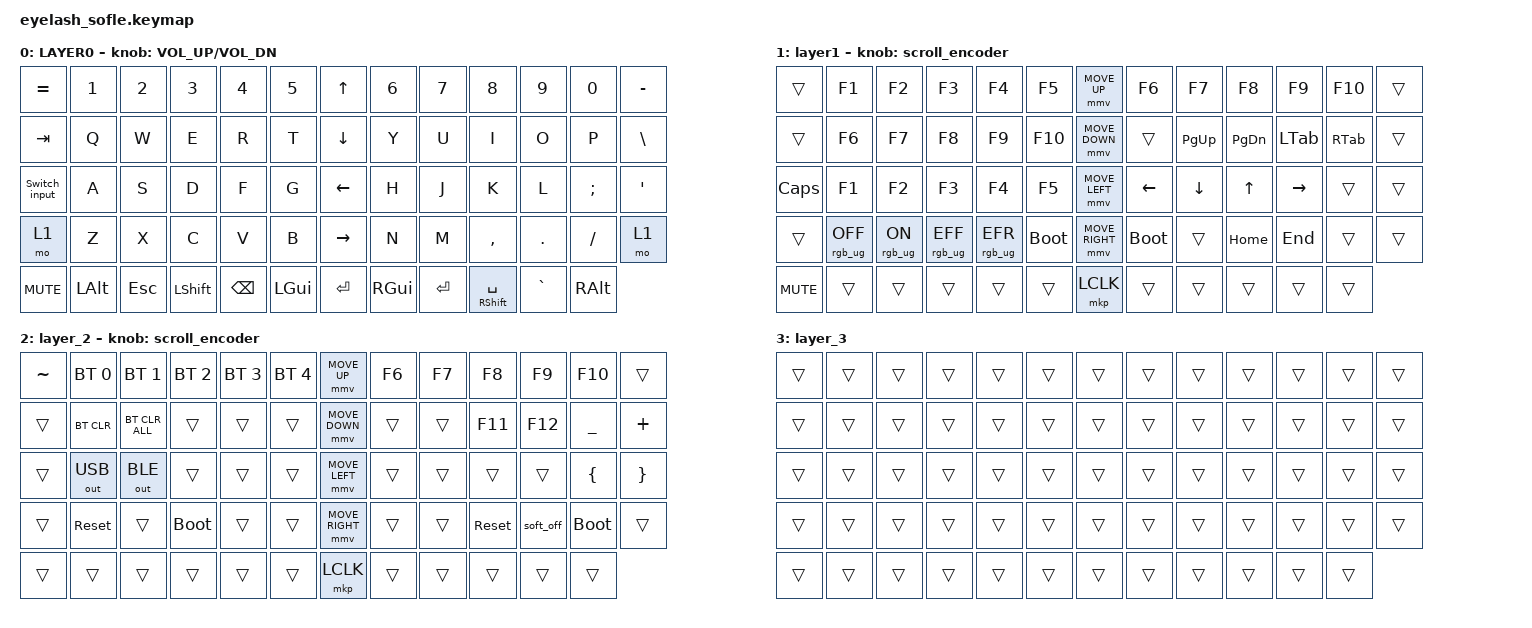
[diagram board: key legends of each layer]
#define ZMK_POINTING_DEFAULT_MOVE_VAL 1200  // 600
#define ZMK_POINTING_DEFAULT_SCRL_VAL 25   // 10

#include <input/processors.dtsi>
#include <zephyr/dt-bindings/input/input-event-codes.h>
#include <behaviors.dtsi>
#include <dt-bindings/zmk/bt.h>
#include <dt-bindings/zmk/keys.h>
#include <dt-bindings/zmk/outputs.h>
#include <dt-bindings/zmk/pointing.h>
#include <dt-bindings/zmk/rgb.h>

&mmv_input_listener { input-processors = <&zip_xy_scaler 2 1>; };

&msc_input_listener { input-processors = <&zip_scroll_scaler 2 1>; };

&msc {
    acceleration-exponent = <1>;      // 0
    time-to-max-speed-ms = <100>;       // 300
    delay-ms = <0>;                   // 0
};

&mmv {
    time-to-max-speed-ms = <500>;
    acceleration-exponent = <1>;
    trigger-period-ms = <16>;
};

/ {
    scroll_encoder: scroll_encoder {
        compatible = "zmk,behavior-sensor-rotate";
        #sensor-binding-cells = <0>;
        bindings = <&msc SCRL_DOWN>, <&msc SCRL_UP>;

        tap-ms = <100>;
    };

    behaviors {
    };

    combos {
        compatible = "zmk,combos";

        esc {
            bindings = <&kp ESCAPE>;
            key-positions = <41 42>;
        };

        grave {
            bindings = <&kp GRAVE>;
            key-positions = <49 50>;
        };

        LBracket {
            bindings = <&kp LEFT_BRACKET>;
            key-positions = <47 48>;
        };

        RBracket {
            bindings = <&kp RIGHT_BRACKET>;
            key-positions = <48 49>;
        };

        Copy {
            bindings = <&Copy>;
            key-positions = <42 43>;
        };

        Paste {
            bindings = <&Paste>;
            key-positions = <43 44>;
        };

        Layer {
            bindings = <&mo 2>;
            key-positions = <9 8>;
        };

        Layer1 {
            bindings = <&tog 1>;
            key-positions = <51 39>;
        };
    };

    macros {
        Copy: Copy {
            compatible = "zmk,behavior-macro";
            #binding-cells = <0>;
            bindings = <&kp LG(C)>;
            label = "COPY";
        };

        Paste: Paste {
            compatible = "zmk,behavior-macro";
            #binding-cells = <0>;
            bindings = <&kp LG(V)>;
            label = "PASTE";
        };

        Home: Home {
            compatible = "zmk,behavior-macro";
            #binding-cells = <0>;
            bindings = <&kp LC(A)>;
            label = "HOME";
        };

        End: End {
            compatible = "zmk,behavior-macro";
            #binding-cells = <0>;
            bindings = <&kp LC(E)>;
            label = "END";
        };

        LTab: LTab {
            compatible = "zmk,behavior-macro";
            #binding-cells = <0>;
            bindings = <&kp LG(LS(LEFT_BRACKET))>;
            label = "LTAB";
        };

        RTab: RTab {
            compatible = "zmk,behavior-macro";
            #binding-cells = <0>;
            bindings = <&kp LG(LS(RIGHT_BRACKET))>;
            label = "RTAB";
        };

        Switch_input: Switch_input {
            compatible = "zmk,behavior-macro";
            #binding-cells = <0>;
            bindings = <&kp LC(RA(SPACE))>;
            label = "SWITCH_INPUT";
        };
    };

    keymap {
        compatible = "zmk,keymap";

        Basic {
            bindings = <
&kp EQUAL      &kp N1        &kp N2      &kp N3      &kp N4         &kp N5          &kp UP_ARROW     &kp N6         &kp N7     &kp N8                 &kp N9     &kp N0         &kp MINUS
&kp TAB        &kp Q         &kp W       &kp E       &kp R          &kp T           &kp DOWN_ARROW   &kp Y          &kp U      &kp I                  &kp O      &kp P          &kp BSLH
&Switch_input  &kp A         &kp S       &kp D       &kp F          &kp G           &kp LEFT_ARROW   &kp H          &kp J      &kp K                  &kp L      &kp SEMI       &kp APOS
&mo 1          &kp Z         &kp X       &kp C       &kp V          &kp B           &kp RIGHT_ARROW  &kp N          &kp M      &kp COMMA              &kp DOT    &kp FSLH       &mo 1
&kp C_MUTE     &kp LEFT_ALT  &kp ESCAPE  &kp LSHIFT  &kp BACKSPACE  &kp LEFT_GUI    &kp ENTER        &kp RIGHT_GUI  &kp ENTER  &mt RIGHT_SHIFT SPACE  &kp GRAVE  &kp RIGHT_ALT
            >;

            sensor-bindings = <&inc_dec_kp C_VOLUME_UP C_VOL_DN>;
            display-name = "LAYER0";
        };

        Move {
            bindings = <
&trans        &kp F1           &kp F2          &kp F3           &kp F4           &kp F5         &mmv MOVE_UP     &kp F6          &kp F7       &kp F8         &kp F9     &kp F10  &trans
&trans        &kp F6           &kp F7          &kp F8           &kp F9           &kp F10        &mmv MOVE_DOWN   &trans          &kp PAGE_UP  &kp PAGE_DOWN  &LTab      &RTab    &trans
&kp CAPSLOCK  &kp F1           &kp F2          &kp F3           &kp F4           &kp F5         &mmv MOVE_LEFT   &kp LEFT_ARROW  &kp DOWN     &kp UP         &kp RIGHT  &trans   &trans
&trans        &rgb_ug RGB_OFF  &rgb_ug RGB_ON  &rgb_ug RGB_EFF  &rgb_ug RGB_EFR  &bootloader    &mmv MOVE_RIGHT  &bootloader     &trans       &Home          &End       &trans   &trans
&kp C_MUTE    &trans           &trans          &trans           &trans           &trans         &mkp LCLK        &trans          &trans       &trans         &trans     &trans
            >;

            display-name = "layer1";
            sensor-bindings = <&scroll_encoder>;
        };

        layer_2 {
            bindings = <
&kp TILDE  &bt BT_SEL 0  &bt BT_SEL 1    &bt BT_SEL 2  &bt BT_SEL 3  &bt BT_SEL 4    &mmv MOVE_UP     &kp F6  &kp F7  &kp F8      &kp F9     &kp F10      &trans
&trans     &bt BT_CLR    &bt BT_CLR_ALL  &trans        &trans        &trans          &mmv MOVE_DOWN   &trans  &trans  &kp F11     &kp F12    &kp UNDER    &kp PLUS
&trans     &out OUT_USB  &out OUT_BLE    &trans        &trans        &trans          &mmv MOVE_LEFT   &trans  &trans  &trans      &trans     &kp LBRC     &kp RBRC
&trans     &sys_reset    &trans          &bootloader   &trans        &trans          &mmv MOVE_RIGHT  &trans  &trans  &sys_reset  &soft_off  &bootloader  &trans
&trans     &trans        &trans          &trans        &trans        &trans          &mkp LCLK        &trans  &trans  &trans      &trans     &trans
            >;

            sensor-bindings = <&scroll_encoder>;
        };

        layer_3 {
            bindings = <
&trans  &trans  &trans  &trans  &trans  &trans    &trans  &trans  &trans  &trans  &trans  &trans  &trans
&trans  &trans  &trans  &trans  &trans  &trans    &trans  &trans  &trans  &trans  &trans  &trans  &trans
&trans  &trans  &trans  &trans  &trans  &trans    &trans  &trans  &trans  &trans  &trans  &trans  &trans
&trans  &trans  &trans  &trans  &trans  &trans    &trans  &trans  &trans  &trans  &trans  &trans  &trans
&trans  &trans  &trans  &trans  &trans  &trans    &trans  &trans  &trans  &trans  &trans  &trans
            >;
        };
    };
};
